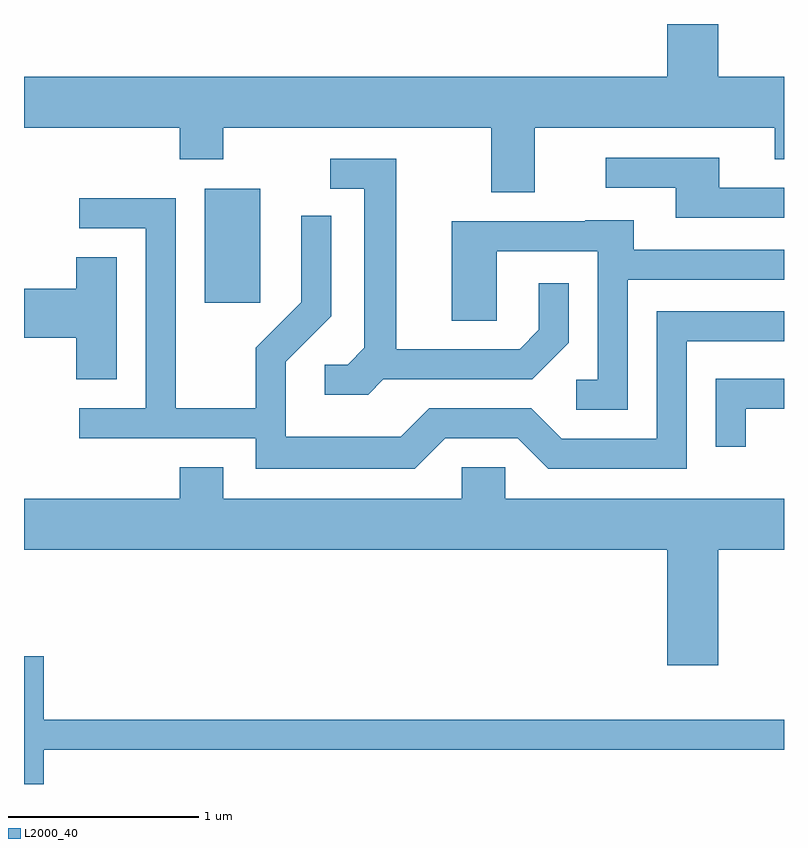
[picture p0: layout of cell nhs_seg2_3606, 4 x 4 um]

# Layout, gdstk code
import gdstk
lib = gdstk.Library(unit=1e-6, precision=1e-09)
def R(c, l, rs):  # rectangles x0, y0, x1, y1
    for r in rs: c.add(gdstk.rectangle(r[:2], r[2:], *l))
def P(c, l, *ps):  # polygons
    for p in ps: c.add(gdstk.Polygon(p, *l))
L2000_40 = (2000, 40)

nhs_seg2_3606 = lib.new_cell('nhs_seg2_3606')
R(nhs_seg2_3606, L2000_40, [(292.561,996.336,292.854,996.934)])
P(nhs_seg2_3606, L2000_40, [(294.299,997.256),(295.561,997.256),(295.561,997.091),(295.611,997.091),(295.611,997.524),(295.264,997.524),(295.264,997.802),(294.996,997.802),(294.996,997.524),(291.611,997.524),(291.611,997.256),(292.431,997.256),(292.431,997.091),(292.659,997.091),(292.659,997.256),(294.071,997.256),(294.071,996.916),(294.299,996.916)],
  [(295.611,996.939),(295.269,996.939),(295.269,997.099),(294.673,997.099),(294.673,996.941),(295.041,996.941),(295.041,996.781),(295.611,996.781)],
  [(293.502,995.931),(294.287,995.931),(294.479,996.124),(294.479,996.438),(294.321,996.438),(294.321,996.192),(294.219,996.089),(293.569,996.089),(293.569,997.094),(293.223,997.094),(293.223,996.936),(293.401,996.936),(293.401,996.097),(293.314,996.009),(293.193,996.009),(293.193,995.851),(293.422,995.851)],
  [(293.827,995.621),(294.209,995.621),(294.369,995.461),(295.099,995.461),(295.099,996.131),(295.611,996.131),(295.611,996.289),(294.941,996.289),(294.941,995.619),(294.442,995.619),(294.282,995.779),(293.744,995.779),(293.594,995.629),(292.989,995.629),(292.989,996.024),(293.229,996.264),(293.229,996.793),(293.071,996.793),(293.071,996.337),(292.831,996.097),(292.831,995.779),(292.409,995.779),(292.409,996.884),(291.903,996.884),(291.903,996.726),(292.251,996.726),(292.251,995.779),(291.903,995.779),(291.903,995.621),(292.831,995.621),(292.831,995.461),(293.667,995.461)],
  [(294.789,996.456),(295.611,996.456),(295.611,996.614),(294.819,996.614),(294.819,996.769),(294.565,996.769),(294.565,996.764),(293.861,996.764),(293.861,996.241),(294.099,996.241),(294.099,996.606),(294.631,996.606),(294.631,995.929),(294.518,995.929),(294.518,995.771),(294.789,995.771)],
  [(292.099,996.574),(291.886,996.574),(291.886,996.409),(291.611,996.409),(291.611,996.151),(291.886,996.151),(291.886,995.931),(292.099,995.931)],
  [(295.409,995.776),(295.611,995.776),(295.611,995.934),(295.251,995.934),(295.251,995.578),(295.409,995.578)],
  [(295.264,995.036),(295.611,995.036),(295.611,995.304),(294.144,995.304),(294.144,995.469),(293.916,995.469),(293.916,995.304),(292.659,995.304),(292.659,995.469),(292.431,995.469),(292.431,995.304),(291.611,995.304),(291.611,995.036),(294.996,995.036),(294.996,994.426),(295.264,994.426)],
  [(291.714,993.981),(295.611,993.981),(295.611,994.139),(291.714,994.139),(291.714,994.474),(291.611,994.474),(291.611,993.802),(291.714,993.802)])

lib.write_gds('nhs_seg2_3606.gds')
